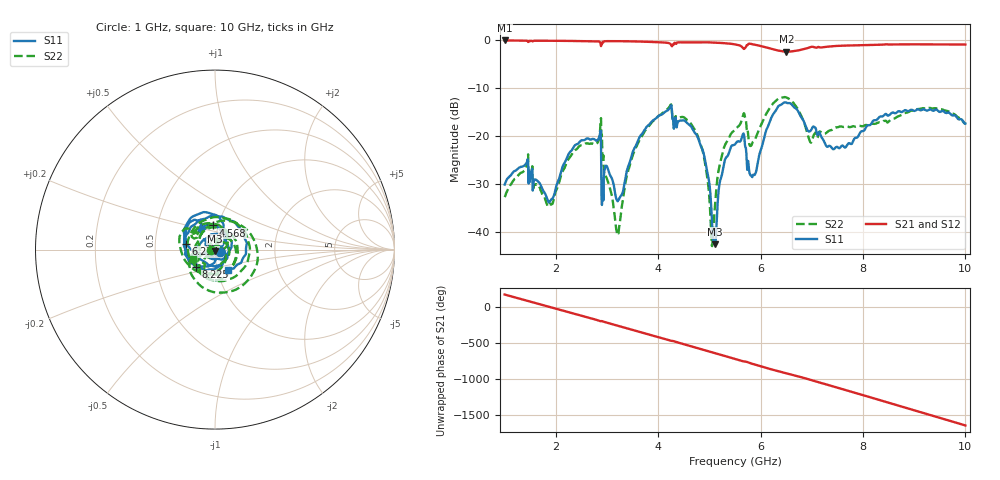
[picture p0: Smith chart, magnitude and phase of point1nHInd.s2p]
!Agilent Technologies,E8364B,US42250173,A.07.50.67
!Agilent E8364B: A.07.50.67
!Date: Friday, October 27, 2017 12:13:15
!Correction: S11(Full 2 Port(1,2))
!S21(Full 2 Port(1,2))
!S12(Full 2 Port(1,2))
!S22(Full 2 Port(1,2))
!S2P File: Measurements: S11, S21, S12, S22:
# Hz S  dB  R 50
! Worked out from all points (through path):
!   1000 points, 1 GHz to 10 GHz, reference 50 ohm
!   highest |S21| = -0.15 dB at 1 GHz (marker M1); lowest = -2.5 dB at 6.505 GHz (marker M2)
!   group delay of S21, straight-line fit = 558 ps
!   lowest |S11| = -42.6 dB at 5.108 GHz (marker M3), VSWR 1.01, Z = 49.8 - j0.72 ohm
!   |S11| at or under -10 dB: start of sweep to end of sweep
!   |S22| runs from -43.0 to -12.0 dB; largest |S21 - S12| = 0.00088
!   S11 on the Smith chart (normalised r, x): 1 GHz: 1.06, -0.02; 4.568 GHz: 0.94, +0.26; 6.234 GHz: 0.72, +0.05; 8.225 GHz: 0.79, -0.16; 10 GHz: 1.13, -0.26
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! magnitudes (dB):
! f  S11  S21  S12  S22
! 1 GHz  -30.2  -0.2  -0.2  -32.8
! 1.414 GHz  -25.9  -0.2  -0.2  -26.8
! 1.892 GHz  -33.6  -0.2  -0.2  -34.3
! 2.505 GHz  -20.9  -0.3  -0.3  -22.0
! 2.856 GHz  -20.0  -0.4  -0.4  -19.9
! 3.207 GHz  -33.7  -0.3  -0.3  -40.6
! 3.514 GHz  -23.1  -0.4  -0.4  -23.8
! 4 GHz  -16.0  -0.5  -0.5  -15.9
! 4.568 GHz  -17.4  -0.6  -0.6  -16.8
! 4.892 GHz  -23.9  -0.5  -0.5  -24.4
! 5.045 GHz  -36.8  -0.6  -0.6  -42.9
! 5.108 GHz  -42.6  -0.6  -0.6  -34.7
! 5.243 GHz  -28.2  -0.7  -0.7  -24.2
! 5.505 GHz  -21.7  -1.0  -1.0  -18.7
! 5.865 GHz  -28.2  -1.0  -1.0  -21.2
! 6.234 GHz  -15.7  -2.0  -2.0  -13.4
! 6.505 GHz  -13.1  -2.5  -2.5  -12.0
! 7 GHz  -18.6  -1.5  -1.5  -21.2
! 7.432 GHz  -22.8  -1.3  -1.3  -18.4
! 8.225 GHz  -16.8  -1.1  -1.1  -17.5
! 8.505 GHz  -15.8  -1.0  -1.0  -17.0
! 10 GHz  -17.5  -1.0  -1.0  -17.6
